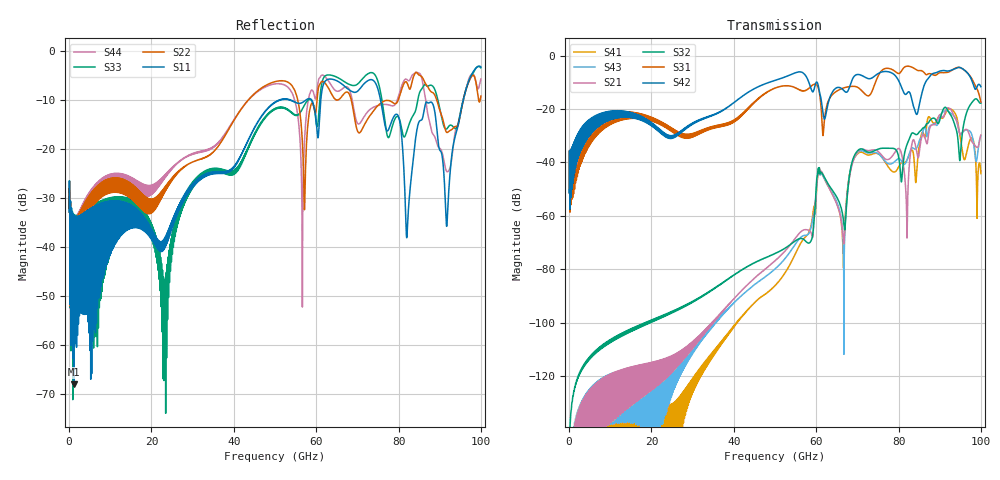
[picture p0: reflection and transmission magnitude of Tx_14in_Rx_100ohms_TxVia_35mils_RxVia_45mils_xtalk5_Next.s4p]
! Info: Touchstone file created by Circ.  Input file=Tx_14in_Rx_100ohms_TxVia_35mils_RxVia_45mils.circ
# Hz S RI R 50
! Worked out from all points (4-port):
!   10000 points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, 10 MHz to 100 GHz, reference 50 ohm
!   strongest paths, dB at 10 MHz, 25.01 GHz, 50.01 GHz, 75.01 GHz, 100 GHz:
!     S42: -51.3, -30.9, -9.3, -6.7, -11.6
!     S31: -51.3, -28.5, -12.1, -7.7, -17.3
!     S32: -162.5, -96.3, -74.1, -35.0, -17.8
!     S21: -175.9, -113.8, -76.8, -35.8, -29.7
!     S43: -175.9, -118.9, -79.9, -36.6, -30.1
!     S41: -181.6, -130.9, -86.1, -36.7, -44.2
!   lowest |S11| = -67.9 dB at 1.13 GHz (marker M1), VSWR 1.00, Z = 50 + j0.0399 ohm
!   |S11| at or under -10 dB: start of sweep to 51.05 GHz; 53.7 GHz to 57.55 GHz (3.843 GHz wide, 6.91 % of centre); 75.64 GHz to 95.73 GHz (20.09 GHz wide, 23.4 % of centre) (the widest 3 of 6)
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1e7  0.0214 0.0082  9.72e-10 1.27e-09  0.000997 0.00252  6.19e-10 5.56e-10
     9.72e-10 1.27e-09  0.0216 0.00817  3.6e-09 6.61e-09  0.000991 0.00252
     0.000997 0.00252  3.6e-09 6.61e-09  0.0216 0.00818  9.58e-10 1.29e-09
     6.19e-10 5.56e-10  0.000991 0.00252  9.58e-10 1.29e-09  0.0214 0.00821
1.13e9  5.76e-05 0.000399  3.01e-08 1.04e-07  0.000484 0.0119  -5.24e-09 4.22e-08
        3.01e-08 1.04e-07  0.00265 0.00189  1.03e-07 5.14e-07  0.00182 0.0125
        0.000484 0.0119  1.03e-07 5.14e-07  -0.000182 0.000929  3.65e-08 1.06e-07
        -5.24e-09 4.22e-08  0.00182 0.0125  3.65e-08 1.06e-07  0.00292 0.00254
5.273e10  0.2042 0.2522  2.68e-05 -0.000232  0.2611 0.0814  -2.18e-05 -9.04e-05
          2.68e-05 -0.000232  0.4876 -0.0333  6.01e-05 -0.000251  0.2359 -0.3313
          0.2611 0.0814  6.01e-05 -0.000251  0.1636 0.2023  -8.39e-05 -0.000148
          -2.18e-05 -9.04e-05  0.2359 -0.3313  -8.39e-05 -0.000148  0.4383 -0.0456
6.084e10  0.1571 0.1497  -0.00512 0.00546  -0.1899 -0.0268  -0.00565 0.00444
          -0.00512 0.00546  0.4287 -0.145  -0.00471 0.0053  0.0398 0.1978
          -0.1899 -0.0268  -0.00471 0.0053  0.1895 0.2326  -0.00512 0.00472
          -0.00565 0.00444  0.0398 0.1978  -0.00512 0.00472  0.5013 -0.1748
6.662e10  0.2275 -0.3846  -2.85e-05 0.000317  -0.241 -0.0571  2.16e-05 0.000107
          -2.85e-05 0.000317  -0.0904 -0.3485  -0.000829 -3.28e-05  0.1232 0.1906
          -0.241 -0.0571  -0.000829 -3.28e-05  0.2873 -0.4014  -0.000174 9.23e-05
          2.16e-05 0.000107  0.1232 0.1906  -0.000174 9.23e-05  -0.1473 -0.3921
9.174e10  0.0165 -0.0025  -0.102 0.0141  0.4036 -0.2677  0.0327 0.0875
          -0.102 0.0141  0.1435 0.0342  -0.0435 -0.0907  0.411 -0.31
          0.4036 -0.2677  -0.0435 -0.0907  0.1586 0.027  -0.089 0.0285
          0.0327 0.0875  0.411 -0.31  -0.089 0.0285  0.0577 0.0117
1e11  -0.5626 0.394  0.000794 -0.0327  0.0763 0.1125  -0.00565 0.00247
      0.000794 -0.0327  -0.3443 0.0315  0.1006 0.0808  0.0185 0.261
      0.0763 0.1125  0.1006 0.0808  -0.5606 0.3716  -0.0258 -0.0177
      -0.00565 0.00247  0.0185 0.261  -0.0258 -0.0177  -0.5122 0.0748
